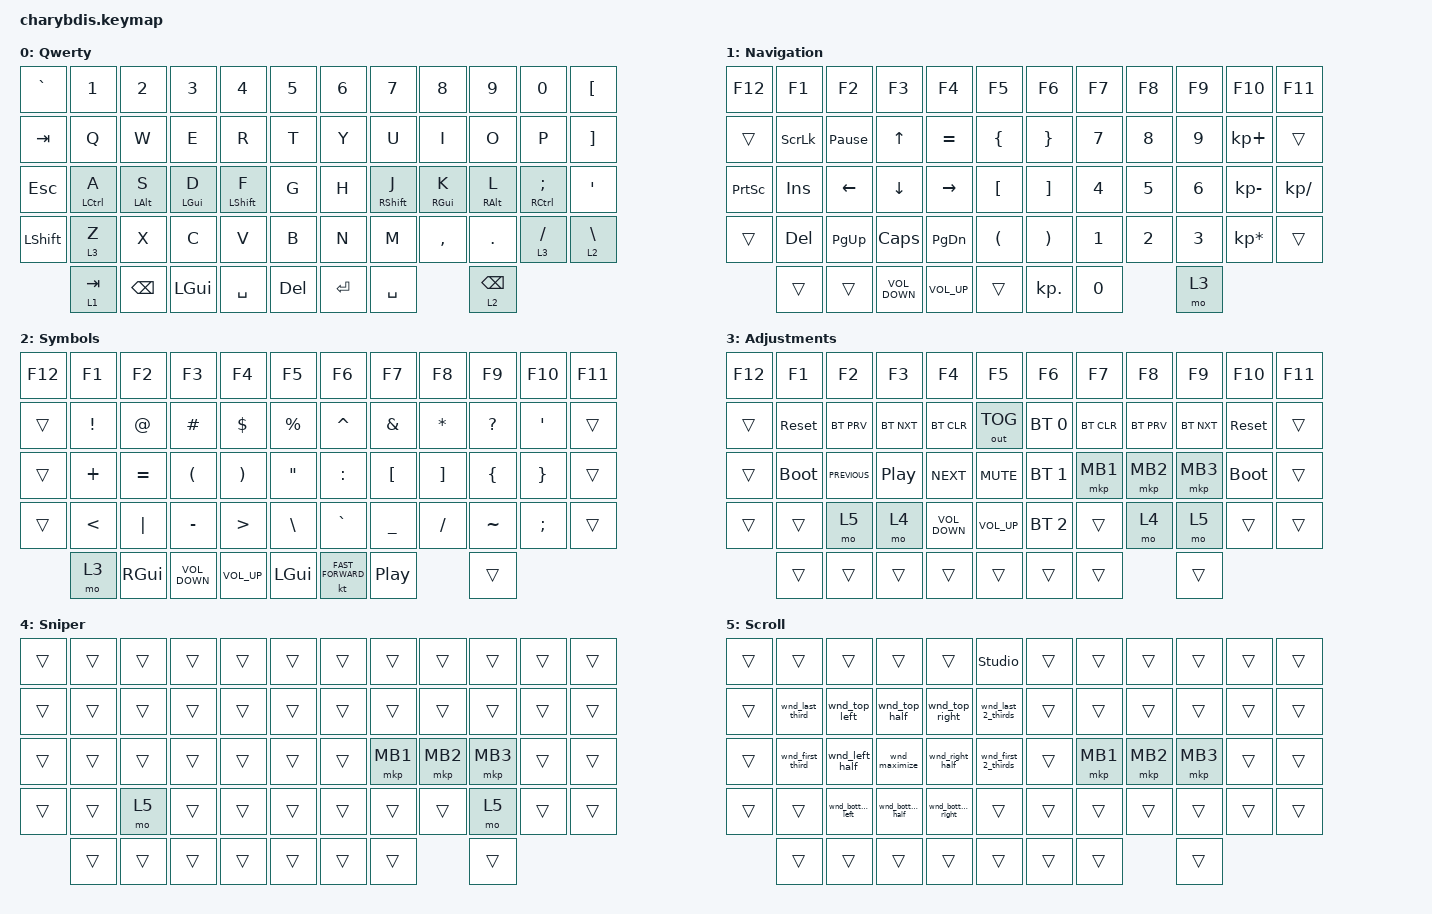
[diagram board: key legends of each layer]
#include <dt-bindings/zmk/mouse.h>
#include <behaviors/mouse_keys.dtsi>
#include <behaviors.dtsi>
#include <dt-bindings/zmk/bt.h>
#include <dt-bindings/zmk/keys.h>
#include <dt-bindings/zmk/outputs.h>
#include <dt-bindings/zmk/pointing.h>

/ {
    chosen { zmk,matrix_transform = &default_transform; };
};

&mt {
    quick-tap-ms = <175>;
    global-quick-tap;
    flavor = "balanced";
    tapping-term-ms = <280>;
    require-prior-idle-ms = <150>;
    hold-trigger-on-release;
};

&lt {
    quick-tap-ms = <100>;
    global-quick-tap;
    flavor = "tap-preferred";
    tapping-term-ms = <170>;
};

/ {
    combos {
        compatible = "zmk,combos";

        combo_esc {
            timeout-ms = <50>;
            key-positions = <0 1>;
            bindings = <&kp ESC>;
        };

        LeftClickRight {
            bindings = <&mkp LCLK>;
            key-positions = <19 20>;
        };

        RightClickRight {
            bindings = <&mkp RCLK>;
            key-positions = <20 21>;
        };

        ParaLeft {
            bindings = <&kp LEFT_PARENTHESIS>;
            key-positions = <3 15>;
        };

        ParaRight {
            bindings = <&kp RIGHT_PARENTHESIS>;
            key-positions = <4 16>;
        };

        BrackLeft {
            bindings = <&kp LEFT_BRACKET>;
            key-positions = <7 19>;
        };

        BrakRight {
            bindings = <&kp RIGHT_BRACKET>;
            key-positions = <8 20>;
        };
    };

    macros {
        wnd_left_half: wnd_left_half {
            compatible = "zmk,behavior-macro";
            #binding-cells = <0>;
            bindings = <&kp LA(LC(LEFT_ARROW))>;
            label = "WND_LEFT_HALF";
        };

        wnd_right_half: wnd_right_half {
            compatible = "zmk,behavior-macro";
            #binding-cells = <0>;
            bindings = <&kp LA(LC(RIGHT))>;
            label = "WND_RIGHT_HALF";
        };

        wnd_top_half: wnd_top_half {
            compatible = "zmk,behavior-macro";
            #binding-cells = <0>;
            bindings = <&kp LA(LC(UP_ARROW))>;
            label = "WND_TOP_HALF";
        };

        wnd_bottom_half: wnd_bottom_half {
            compatible = "zmk,behavior-macro";
            #binding-cells = <0>;
            bindings = <&kp LA(LC(DOWN))>;
            label = "WND_BOTTOM_HALF";
        };

        wnd_top_left: wnd_top_left {
            compatible = "zmk,behavior-macro";
            #binding-cells = <0>;
            bindings = <&kp LA(LC(U))>;
            label = "WND_TOP_LEFT";
        };

        wnd_top_right: wnd_top_right {
            compatible = "zmk,behavior-macro";
            #binding-cells = <0>;
            bindings = <&kp LA(LC(I))>;
            label = "WND_TOP_RIGHT";
        };

        wnd_bottom_left: wnd_bottom_left {
            compatible = "zmk,behavior-macro";
            #binding-cells = <0>;
            bindings = <&kp LA(LC(J))>;
            label = "WND_BOTTOM_LEFT";
        };

        wnd_bottom_right: wnd_bottom_right {
            compatible = "zmk,behavior-macro";
            #binding-cells = <0>;
            bindings = <&kp LA(LC(K))>;
            label = "WND_BOTTOM_RIGHT";
        };

        wnd_maximize: wnd_maximize {
            compatible = "zmk,behavior-macro";
            #binding-cells = <0>;
            bindings = <&kp LA(LC(ENTER))>;
            label = "WND_MAXIMIZE";
        };

        wnd_first_third: wnd_first_third {
            compatible = "zmk,behavior-macro";
            #binding-cells = <0>;
            bindings = <&kp LA(LC(D))>;
            label = "WND_FIRST_THIRD";
        };

        wnd_last_third: wnd_last_third {
            compatible = "zmk,behavior-macro";
            #binding-cells = <0>;
            bindings = <&kp LA(LC(G))>;
            label = "WND_LAST_THIRD";
        };

        wnd_first_2_thirds: wnd_first_2_thirds {
            compatible = "zmk,behavior-macro";
            #binding-cells = <0>;
            bindings = <&kp LA(LC(E))>;
            label = "WND_FIRST_2_THIRDS";
        };

        wnd_last_2_thirds: wnd_last_2_thirds {
            compatible = "zmk,behavior-macro";
            #binding-cells = <0>;
            bindings = <&kp LA(LC(T))>;
            label = "WND_LAST_2_THIRDS";
        };

        change_lang: change_lang {
            compatible = "zmk,behavior-macro";
            #binding-cells = <0>;
            bindings = <&kp LG(SPACE)>;
            label = "CHANGE_LANG";
        };
    };

    keymap {
        compatible = "zmk,keymap";

        Qwerty {
            bindings = <
&kp GRAVE   &kp N1       &kp N2         &kp N3      &kp N4        &kp N5   &kp N6            &kp N7        &kp N8      &kp N9           &kp N0          &kp LEFT_BRACKET
&kp TAB     &kp Q        &kp W          &kp E       &kp R         &kp T               &kp Y  &kp U         &kp I       &kp O            &kp P           &kp RIGHT_BRACKET
&kp ESC     &mt LCTRL A  &mt LALT S     &mt LGUI D  &mt LSHIFT F  &kp G               &kp H  &mt RSHIFT J  &mt RGUI K  &mt RALT L       &mt RCTRL SEMI  &kp APOS
&kp LSHIFT  &lt 3 Z      &kp X          &kp C       &kp V         &kp B               &kp N  &kp M         &kp COMMA   &kp DOT          &lt 3 SLASH     &lt 2 BACKSLASH
            &lt 1 TAB    &kp BACKSPACE  &kp LGUI    &kp SPACE     &kp DEL  &kp ENTER         &kp SPACE                 &lt 2 BACKSPACE
            >;
        };

        Navigation {
            bindings = <
&kp F12          &kp F1          &kp F2           &kp F3             &kp F4           &kp F5    &kp F6                &kp F7  &kp F8  &kp F9  &kp F10          &kp F11
&trans           &kp SCROLLLOCK  &kp PAUSE_BREAK  &kp UP             &kp EQUAL        &kp LBRC              &kp RBRC  &kp N7  &kp N8  &kp N9  &kp KP_PLUS      &trans
&kp PRINTSCREEN  &kp INSERT      &kp LEFT         &kp DOWN           &kp RIGHT        &kp LBKT              &kp RBKT  &kp N4  &kp N5  &kp N6  &kp KP_MINUS     &kp KP_DIVIDE
&trans           &kp DEL         &kp PG_UP        &kp CAPS           &kp PG_DN        &kp LPAR              &kp RPAR  &kp N1  &kp N2  &kp N3  &kp KP_MULTIPLY  &trans
                 &trans          &trans           &kp C_VOLUME_DOWN  &kp C_VOLUME_UP  &trans    &kp KP_DOT            &kp N0          &mo 3
            >;
        };

        Symbols {
            bindings = <
&kp F12  &kp F1         &kp F2     &kp F3             &kp F4            &kp F5         &kp F6                         &kp F7            &kp F8     &kp F9        &kp F10        &kp F11
&trans   &kp EXCL       &kp AT     &kp HASH           &kp DLLR          &kp PRCNT                          &kp CARET  &kp AMPS          &kp STAR   &kp QUESTION  &kp SQT        &trans
&trans   &kp PLUS       &kp EQUAL  &kp LPAR           &kp RPAR          &kp DQT                            &kp COLON  &kp LBKT          &kp RBKT   &kp LBRC      &kp RBRC       &trans
&trans   &kp LESS_THAN  &kp PIPE   &kp MINUS          &kp GREATER_THAN  &kp BACKSLASH                      &kp GRAVE  &kp UNDERSCORE    &kp SLASH  &kp TILDE     &kp SEMICOLON  &trans
         &mo 3          &kp RGUI   &kp C_VOLUME_DOWN  &kp C_VOLUME_UP   &kp LGUI       &kt C_FAST_FORWARD             &kp C_PLAY_PAUSE             &trans
            >;
        };

        Adjustments {
            bindings = <
&kp F12  &kp F1       &kp F2          &kp F3            &kp F4             &kp F5           &kp F6                &kp F7      &kp F8      &kp F9      &kp F10      &kp F11
&trans   &sys_reset   &bt BT_PRV      &bt BT_NXT        &bt BT_CLR         &out OUT_TOG             &bt BT_SEL 0  &bt BT_CLR  &bt BT_PRV  &bt BT_NXT  &sys_reset   &trans
&trans   &bootloader  &kp C_PREVIOUS  &kp C_PLAY_PAUSE  &kp C_NEXT         &kp C_MUTE               &bt BT_SEL 1  &mkp MB1    &mkp MB2    &mkp MB3    &bootloader  &trans
&trans   &trans       &mo 5           &mo 4             &kp C_VOLUME_DOWN  &kp C_VOLUME_UP          &bt BT_SEL 2  &trans      &mo 4       &mo 5       &trans       &trans
         &trans       &trans          &trans            &trans             &trans           &trans                &trans                  &trans
            >;
        };

        Sniper {
            bindings = <
&trans  &trans  &trans  &trans  &trans  &trans  &trans          &trans    &trans    &trans    &trans  &trans
&trans  &trans  &trans  &trans  &trans  &trans          &trans  &trans    &trans    &trans    &trans  &trans
&trans  &trans  &trans  &trans  &trans  &trans          &trans  &mkp MB1  &mkp MB2  &mkp MB3  &trans  &trans
&trans  &trans  &mo 5   &trans  &trans  &trans          &trans  &trans    &trans    &mo 5     &trans  &trans
        &trans  &trans  &trans  &trans  &trans  &trans          &trans              &trans
            >;
        };

        Scroll {
            bindings = <
&trans  &trans            &trans            &trans            &trans             &studio_unlock       &trans          &trans    &trans    &trans    &trans  &trans
&trans  &wnd_last_third   &wnd_top_left     &wnd_top_half     &wnd_top_right     &wnd_last_2_thirds           &trans  &trans    &trans    &trans    &trans  &trans
&trans  &wnd_first_third  &wnd_left_half    &wnd_maximize     &wnd_right_half    &wnd_first_2_thirds          &trans  &mkp MB1  &mkp MB2  &mkp MB3  &trans  &trans
&trans  &trans            &wnd_bottom_left  &wnd_bottom_half  &wnd_bottom_right  &trans                       &trans  &trans    &trans    &trans    &trans  &trans
        &trans            &trans            &trans            &trans             &trans               &trans          &trans              &trans
            >;
        };
    };
};
